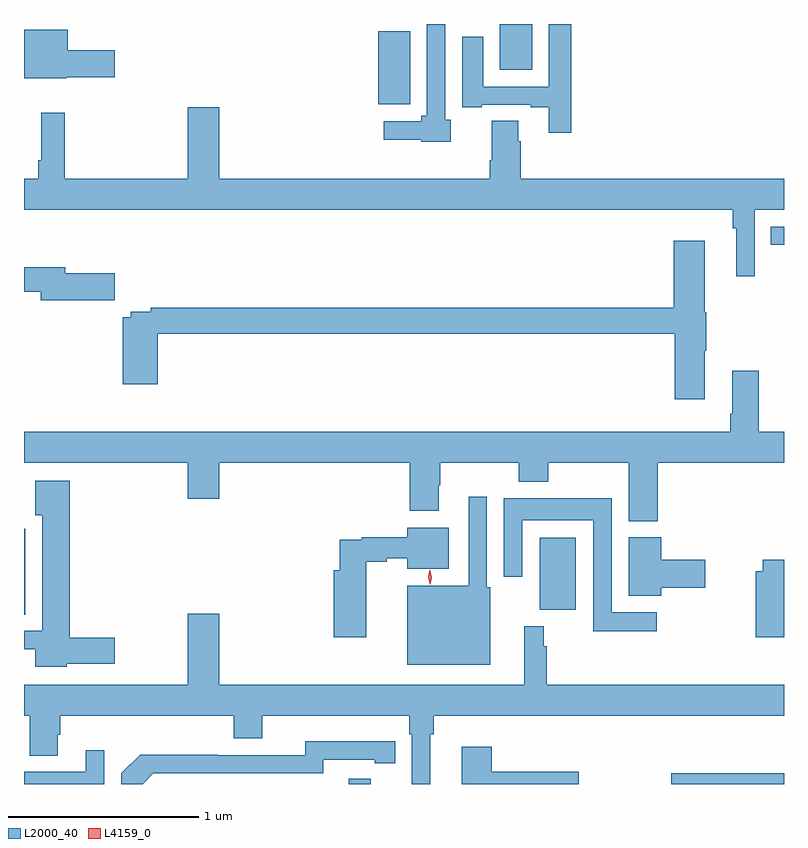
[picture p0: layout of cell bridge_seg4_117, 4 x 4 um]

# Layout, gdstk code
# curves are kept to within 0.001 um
import gdstk
lib = gdstk.Library(unit=1e-6, precision=1e-09)
def R(c, l, rs):  # rectangles x0, y0, x1, y1
    for r in rs: c.add(gdstk.rectangle(r[:2], r[2:], *l))
def P(c, l, *ps):  # polygons
    for p in ps: c.add(gdstk.Polygon(p, *l))
L2000_40 = (2000, 40)
L4159_0 = (4159, 0)

bridge_seg4_117 = lib.new_cell('bridge_seg4_117')
R(bridge_seg4_117, L2000_40, [(357.661,775.15,357.779,775.177), (359.36,775.15,359.953,775.207), (355.953,776.041,355.96,776.494), (358.667,776.066,358.858,776.446), (359.884,777.987,359.953,778.083), (357.818,778.727,357.985,779.113), (358.457,778.91,358.627,779.15)])
P(bridge_seg4_117, L2000_40, [(358.832,779.15),(358.716,779.15),(358.716,778.821),(358.369,778.821),(358.369,779.083),(358.259,779.083),(358.259,778.713),(358.363,778.713),(358.363,778.725),(358.619,778.725),(358.619,778.713),(358.715,778.713),(358.715,778.578),(358.832,778.578)],
  [(358.198,778.647),(358.17,778.647),(358.17,779.15),(358.074,779.15),(358.074,778.666),(358.044,778.666),(358.044,778.638),(357.846,778.638),(357.846,778.541),(358.044,778.541),(358.044,778.529),(358.198,778.529)],
  [(356.178,778.871),(356.431,778.871),(356.431,779.013),(356.182,779.013),(356.182,779.119),(355.955,779.119),(355.955,778.865),(356.178,778.865)],
  [(359.799,778.172),(359.953,778.172),(359.953,778.336),(358.568,778.336),(358.568,778.532),(358.555,778.532),(358.555,778.64),(358.415,778.64),(358.415,778.432),(358.403,778.432),(358.403,778.336),(356.98,778.336),(356.98,778.711),(356.816,778.711),(356.816,778.336),(356.167,778.336),(356.167,778.684),(356.045,778.684),(356.045,778.432),(356.028,778.432),(356.028,778.336),(355.953,778.336),(355.953,778.172),(359.683,778.172),(359.683,778.076),(359.702,778.076),(359.702,777.822),(359.799,777.822)],
  [(359.536,777.431),(359.544,777.431),(359.544,777.633),(359.536,777.633),(359.536,778.009),(359.372,778.009),(359.372,777.656),(356.62,777.656),(356.62,777.636),(356.516,777.636),(356.516,777.607),(356.474,777.607),(356.474,777.255),(356.657,777.255),(356.657,777.52),(359.378,777.52),(359.378,777.174),(359.536,777.174)],
  [(356.431,777.837),(356.17,777.837),(356.17,777.871),(355.953,777.871),(355.953,777.742),(356.042,777.742),(356.042,777.695),(356.431,777.695)],
  [(359.288,776.84),(359.953,776.84),(359.953,777.004),(359.821,777.004),(359.821,777.325),(359.681,777.325),(359.681,777.1),(359.669,777.1),(359.669,777.004),(355.953,777.004),(355.953,776.84),(356.816,776.84),(356.816,776.652),(356.98,776.652),(356.98,776.84),(357.983,776.84),(357.983,776.589),(358.135,776.589),(358.135,776.723),(358.143,776.723),(358.143,776.84),(358.558,776.84),(358.558,776.741),(358.713,776.741),(358.713,776.84),(359.135,776.84),(359.135,776.534),(359.288,776.534)],
  [(356.178,775.784),(356.431,775.784),(356.431,775.919),(356.195,775.919),(356.195,776.746),(356.012,776.746),(356.012,776.564),(356.048,776.564),(356.048,775.956),(355.953,775.956),(355.953,775.86),(356.012,775.86),(356.012,775.766),(356.178,775.766)],
  [(358.408,776.185),(358.389,776.185),(358.389,776.662),(358.293,776.662),(358.293,776.194),(357.971,776.194),(357.971,775.778),(358.408,775.778)],
  [(359.284,776.055),(359.046,776.055),(359.046,776.653),(358.479,776.653),(358.479,776.241),(358.575,776.241),(358.575,776.537),(358.95,776.537),(358.95,775.954),(359.284,775.954)],
  [(357.754,776.32),(357.863,776.32),(357.863,776.339),(357.971,776.339),(357.971,776.282),(358.189,776.282),(358.189,776.5),(357.971,776.5),(357.971,776.449),(357.73,776.449),(357.73,776.436),(357.614,776.436),(357.614,776.275),(357.584,776.275),(357.584,775.923),(357.754,775.923)],
  [(359.306,776.183),(359.539,776.183),(359.539,776.33),(359.306,776.33),(359.306,776.449),(359.135,776.449),(359.135,776.14),(359.306,776.14)],
  [(359.953,776.33),(359.84,776.33),(359.84,776.271),(359.804,776.271),(359.804,775.923),(359.953,775.923)],
  [(358.09,775.412),(358.109,775.412),(358.109,775.508),(359.953,775.508),(359.953,775.672),(358.703,775.672),(358.703,775.874),(358.688,775.874),(358.688,775.981),(358.586,775.981),(358.586,775.672),(356.98,775.672),(356.98,776.047),(356.816,776.047),(356.816,775.672),(355.953,775.672),(355.953,775.508),(355.984,775.508),(355.984,775.3),(356.131,775.3),(356.131,775.41),(356.144,775.41),(356.144,775.508),(357.056,775.508),(357.056,775.391),(357.208,775.391),(357.208,775.508),(357.98,775.508),(357.98,775.412),(357.993,775.412),(357.993,775.15),(358.09,775.15)],
  [(356.634,775.206),(357.528,775.206),(357.528,775.278),(357.8,775.278),(357.8,775.258),(357.908,775.258),(357.908,775.374),(357.432,775.375),(357.432,775.302),(356.972,775.302),(356.972,775.304),(356.564,775.304),(356.466,775.206),(356.466,775.15),(356.578,775.15)],
  [(358.873,775.215),(358.415,775.215),(358.415,775.345),(358.256,775.345),(358.256,775.15),(358.873,775.15)],
  [(356.376,775.327),(356.279,775.327),(356.279,775.215),(355.953,775.215),(355.953,775.15),(356.376,775.15)])
P(bridge_seg4_117, L4159_0, [(358.091,776.2),(358.08,776.239),(358.088,776.278),(358.089,776.278),(358.089,776.278),(358.1,776.239),(358.092,776.2),(358.092,776.2)])

lib.write_gds('bridge_seg4_117.gds')
